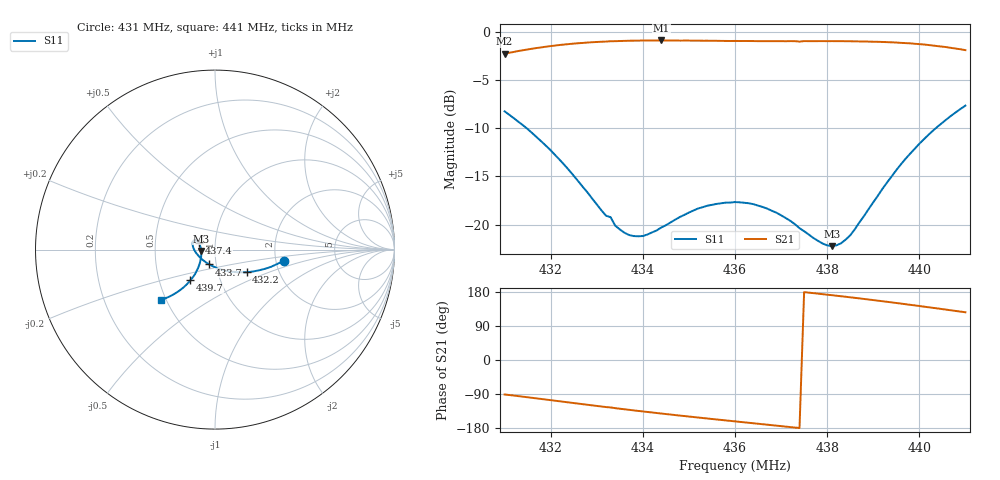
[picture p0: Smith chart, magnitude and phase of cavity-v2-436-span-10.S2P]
!File created by NanoVNA
# Hz S RI R 50
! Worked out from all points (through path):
!   101 points, 431 MHz to 441 MHz, reference 50 ohm
!   highest |S21| = -0.91 dB at 434.4 MHz (marker M1); lowest = -2.3 dB at 431 MHz (marker M2)
!   lowest |S11| = -22.2 dB at 438.1 MHz (marker M3), VSWR 1.17, Z = 42.8 - j0.617 ohm
!   |S11| at or under -10 dB: 431.48 MHz to 440.36 MHz (8.882 MHz wide, 2.04 % of centre)
!   S12 and S22 are empty: the file has one direction only
!   S11 on the Smith chart (normalised r, x): 431 MHz: 2.20, -0.32; 432.2 MHz: 1.37, -0.36; 433.7 MHz: 0.93, -0.15; 437.4 MHz: 0.83, +0.06; 439.7 MHz: 0.72, -0.26; 441 MHz: 0.47, -0.32
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4.31e8  0.3816 -0.0612  -0.0126 -0.7687  0 0  0 0
4.316e8  0.278 -0.1071  -0.14 -0.8037  0 0  0 0
4.322e8  0.1759 -0.1258  -0.278 -0.8063  0 0  0 0
4.327e8  0.0963 -0.1235  -0.3925 -0.7809  0 0  0 0
4.332e8  0.0269 -0.108  -0.4993 -0.7348  0 0  0 0
4.333e8  0.0154 -0.1082  -0.5139 -0.7289  0 0  0 0
4.334e8  0.00229 -0.0988  -0.5381 -0.712  0 0  0 0
4.337e8  -0.0308 -0.0828  -0.5939 -0.6723  0 0  0 0
4.34e8  -0.0586 -0.0647  -0.6444 -0.6275  0 0  0 0
4.344e8  -0.0885 -0.0389  -0.702 -0.5635  0 0  0 0
4.352e8  -0.1209 0.00971  -0.7917 -0.4245  0 0  0 0
4.36e8  -0.1233 0.044  -0.8508 -0.2781  0 0  0 0
4.367e8  -0.1089 0.0528  -0.8811 -0.1447  0 0  0 0
4.374e8  -0.0889 0.0358  -0.8878 -0.0091  0 0  0 0
4.377e8  -0.0828 0.0206  -0.8912 0.055  0 0  0 0
4.381e8  -0.077 -0.00716  -0.8822 0.1391  0 0  0 0
4.383e8  -0.0765 -0.0235  -0.8739 0.1819  0 0  0 0
4.385e8  -0.0774 -0.0421  -0.8629 0.2245  0 0  0 0
4.394e8  -0.1122 -0.138  -0.7773 0.413  0 0  0 0
4.397e8  -0.1371 -0.1711  -0.7339 0.4714  0 0  0 0
4.403e8  -0.2024 -0.2315  -0.6248 0.5718  0 0  0 0
4.41e8  -0.3035 -0.2811  -0.4707 0.6492  0 0  0 0
